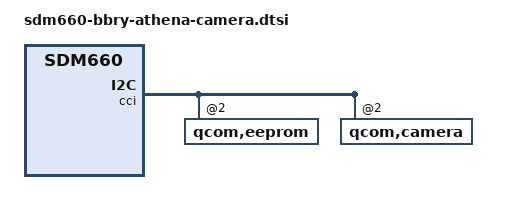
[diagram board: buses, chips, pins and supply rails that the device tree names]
/*
 * BlackBerry KEY2 (athena) telephoto camera routing overrides.
 *
 * The generic node names retain Qualcomm's MCLK2 naming, but Athena's
 * secondary rear sensor is physically routed through GPIO33 and the
 * MCLK1 clock source in the working BlackBerry 4.4 device tree.
 */

&cci {
	qcom,eeprom@2 {
		clocks = <&clock_mmss MCLK1_CLK_SRC>,
			<&clock_mmss MMSS_CAMSS_MCLK1_CLK>;
	};

	qcom,camera@2 {
		clocks = <&clock_mmss MCLK1_CLK_SRC>,
			<&clock_mmss MMSS_CAMSS_MCLK1_CLK>;
	};

	/* Athena has no usable fourth/front-iris camera node. */
	/delete-node/ qcom,camera@3;
};

&cam_sensor_mclk2_active {
	mux {
		pins = "gpio33";
	};

	config {
		pins = "gpio33";
	};
};

&cam_sensor_mclk2_suspend {
	mux {
		pins = "gpio33";
	};

	config {
		pins = "gpio33";
	};
};

&cam_sensor_rear2_active {
	mux {
		pins = "gpio47", "gpio51";
	};

	config {
		pins = "gpio47", "gpio51";
	};
};

&cam_sensor_rear2_suspend {
	mux {
		pins = "gpio47", "gpio51";
	};

	config {
		pins = "gpio47", "gpio51";
	};
};
